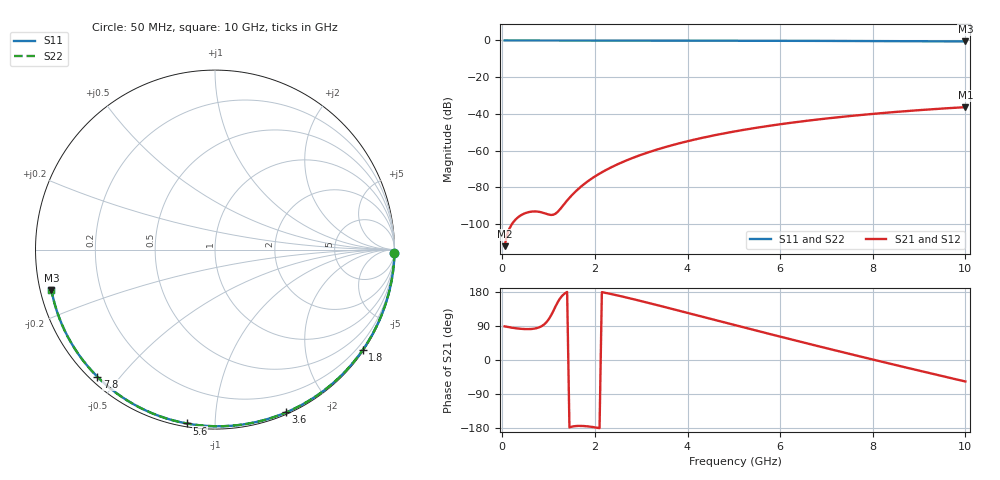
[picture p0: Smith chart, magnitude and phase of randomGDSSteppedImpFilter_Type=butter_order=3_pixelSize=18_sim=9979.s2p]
! freq	dB(S11)	phase(S11)	dB(S12)	phase(S12)
!  dB(S21)	phase(S21)	dB(S22)	phase(S22)
!S-par simulation data
#  GHz  S  DB  R 50
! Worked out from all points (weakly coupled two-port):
!   200 points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, 50 MHz to 10 GHz, reference 50 ohm
!   highest |S21| = -36.31 dB at 10 GHz (marker M1); lowest = -112.0 dB at 50 MHz (marker M2)
!   lowest |S11| = -0.5 dB at 10 GHz (marker M3), VSWR 31.72, Z = 1.6 - j6.13 ohm
!   |S11| at or under -10 dB: nowhere
!   |S22| runs from -0.5 to 0.0 dB; largest |S21 - S12| = 0
!   S11 on the Smith chart (normalised r, x): 50 MHz: open; 1.8 GHz: 0.03, -3.25; 3.6 GHz: 0.02, -1.53; 5.6 GHz: 0.02, -0.85; 7.8 GHz: 0.02, -0.44; 10 GHz: 0.03, -0.12
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0.05  -0.00 -1.0  -111.98 88.8  -111.98 88.8  -0.00 -1.0
0.45  -0.01 -8.7  -94.51 81.9  -94.51 81.9  -0.01 -8.7
0.85  -0.02 -16.3  -93.58 89.3  -93.58 89.3  -0.02 -16.3
1.65  -0.04 -31.4  -80.63 -173.9  -80.63 -173.9  -0.04 -31.4
1.7  -0.04 -32.3  -79.54 -173.9  -79.54 -173.9  -0.04 -32.3
1.75  -0.04 -33.2  -78.51 -174.2  -78.51 -174.2  -0.04 -33.2
1.8  -0.04 -34.2  -77.53 -174.6  -77.53 -174.6  -0.04 -34.2
2.1  -0.05 -39.7  -72.49 -179.8  -72.49 -179.8  -0.05 -39.7
2.3  -0.06 -43.4  -69.72 175.4  -69.72 175.4  -0.06 -43.4
2.5  -0.06 -47.0  -67.28 170.0  -67.28 170.0  -0.06 -47.0
2.9  -0.07 -54.1  -63.14 158.4  -63.14 158.4  -0.07 -54.1
3.4  -0.08 -62.9  -58.93 143.1  -58.93 143.1  -0.08 -62.9
3.6  -0.09 -66.4  -57.48 136.9  -57.48 136.9  -0.09 -66.4
4.3  -0.11 -78.2  -53.11 114.9  -53.11 114.9  -0.11 -78.2
5.05  -0.14 -90.5  -49.37 91.3  -49.37 91.3  -0.14 -90.5
5.6  -0.16 -99.3  -47.09 74.1  -47.09 74.1  -0.16 -99.3
6.15  -0.19 -107.8  -45.10 57.0  -45.10 57.0  -0.19 -107.8
6.7  -0.23 -116.2  -43.35 40.2  -43.35 40.2  -0.23 -116.2
7.8  -0.31 -132.8  -40.43 7.1  -40.43 7.1  -0.31 -132.8
8.35  -0.36 -141.0  -39.21 -9.1  -39.21 -9.1  -0.36 -141.0
9.2  -0.45 -153.7  -37.58 -33.8  -37.58 -33.8  -0.45 -153.7
10  -0.55 -166.0  -36.31 -56.7  -36.31 -56.7  -0.55 -166.0
